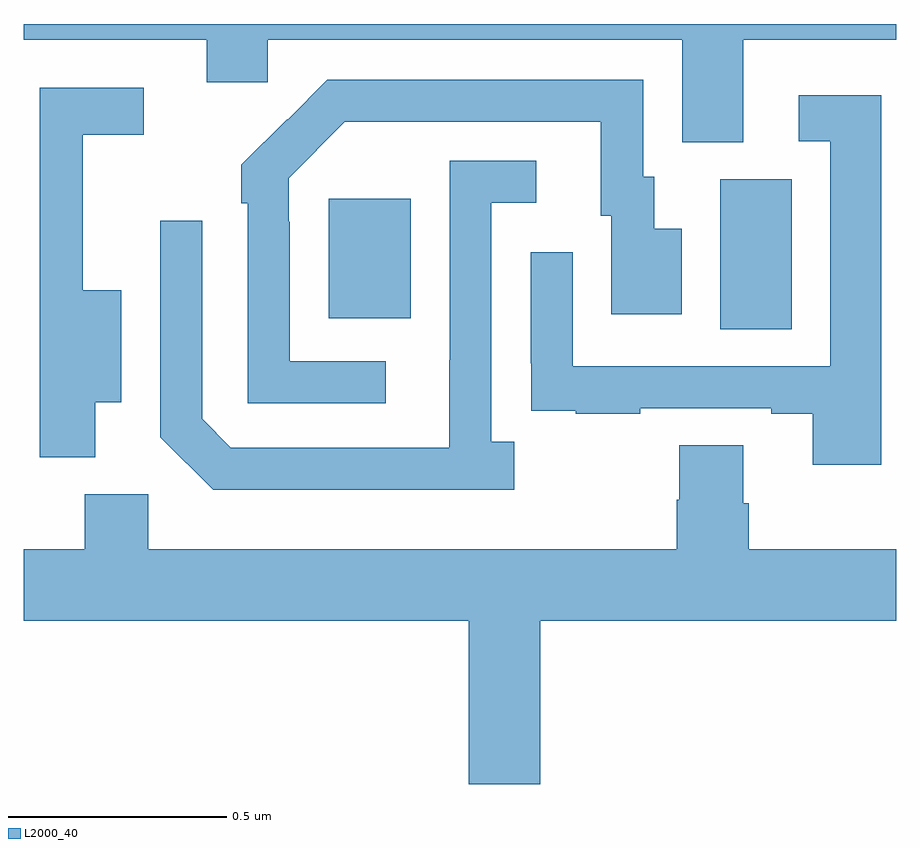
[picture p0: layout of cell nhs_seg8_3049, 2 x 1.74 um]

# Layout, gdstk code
import gdstk
lib = gdstk.Library(unit=1e-6, precision=1e-09)
def R(c, l, rs):  # rectangles x0, y0, x1, y1
    for r in rs: c.add(gdstk.rectangle(r[:2], r[2:], *l))
def P(c, l, *ps):  # polygons
    for p in ps: c.add(gdstk.Polygon(p, *l))
L2000_40 = (2000, 40)

nhs_seg8_3049 = lib.new_cell('nhs_seg8_3049')
R(nhs_seg8_3049, L2000_40, [(153.596,1085.2,153.76,1085.544), (152.699,1085.225,152.887,1085.5)])
P(nhs_seg8_3049, L2000_40, [(153.649,1085.864),(154,1085.864),(154,1085.9),(152,1085.9),(152,1085.864),(152.42,1085.864),(152.42,1085.766),(152.559,1085.766),(152.559,1085.864),(153.509,1085.864),(153.509,1085.629),(153.649,1085.629)],
  [(152.83,1085.127),(152.61,1085.127),(152.61,1085.447),(152.607,1085.447),(152.607,1085.547),(152.736,1085.676),(153.323,1085.676),(153.323,1085.46),(153.347,1085.46),(153.347,1085.235),(153.508,1085.235),(153.508,1085.431),(153.445,1085.431),(153.445,1085.55),(153.42,1085.55),(153.42,1085.772),(152.696,1085.772),(152.605,1085.681),(152.604,1085.682),(152.499,1085.577),(152.499,1085.489),(152.514,1085.489),(152.514,1085.031),(152.83,1085.031)],
  [(152.164,1085.033),(152.224,1085.033),(152.224,1085.29),(152.135,1085.29),(152.135,1085.646),(152.275,1085.646),(152.275,1085.754),(152.037,1085.754),(152.037,1084.907),(152.164,1084.907)],
  [(153.965,1085.737),(153.777,1085.737),(153.777,1085.631),(153.849,1085.631),(153.849,1085.115),(153.258,1085.115),(153.258,1085.377),(153.162,1085.377),(153.162,1085.122),(153.163,1085.122),(153.163,1085.013),(153.265,1085.013),(153.265,1085.007),(153.413,1085.007),(153.413,1085.019),(153.713,1085.019),(153.713,1085.007),(153.809,1085.007),(153.809,1084.89),(153.965,1084.89)],
  [(153.124,1084.942),(153.072,1084.942),(153.072,1085.49),(153.175,1085.49),(153.175,1085.586),(152.976,1085.586),(152.976,1085.129),(152.975,1085.129),(152.975,1084.929),(152.475,1084.929),(152.409,1084.995),(152.409,1085.449),(152.313,1085.449),(152.313,1084.953),(152.434,1084.832),(153.124,1084.832)],
  [(153.184,1084.532),(154,1084.532),(154,1084.696),(153.662,1084.696),(153.662,1084.802),(153.649,1084.802),(153.649,1084.934),(153.502,1084.934),(153.502,1084.809),(153.497,1084.809),(153.497,1084.696),(152.286,1084.696),(152.286,1084.822),(152.14,1084.822),(152.14,1084.696),(152,1084.696),(152,1084.532),(153.02,1084.532),(153.02,1084.158),(153.184,1084.158)])

lib.write_gds('nhs_seg8_3049.gds')
